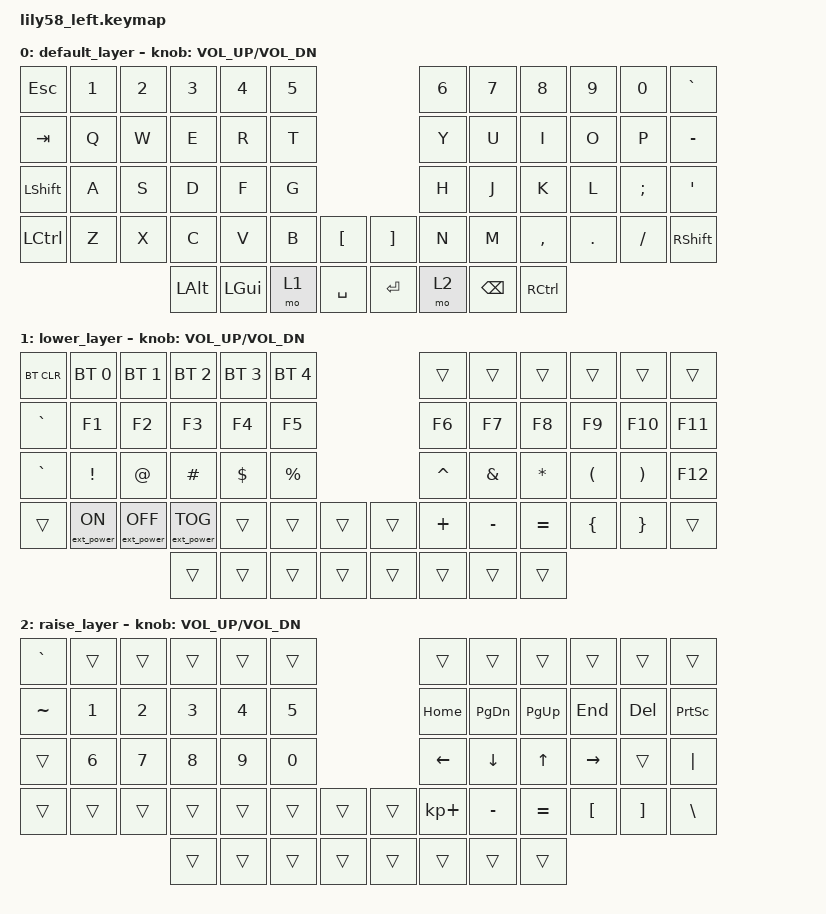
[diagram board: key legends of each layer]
/*
 * Copyright (c) 2020 The ZMK Contributors
 *
 * SPDX-License-Identifier: MIT
 */

#include <behaviors.dtsi>
#include <dt-bindings/zmk/keys.h>
#include <dt-bindings/zmk/bt.h>
#include <dt-bindings/zmk/ext_power.h>


/ {
    kscan0: kscan {
    compatible = "zmk,kscan-gpio-matrix";
    wakeup-source;

    diode-direction = "col2row";
    row-gpios
        = <&pro_micro 5 (GPIO_ACTIVE_HIGH | GPIO_PULL_DOWN)>
        , <&pro_micro 6 (GPIO_ACTIVE_HIGH | GPIO_PULL_DOWN)>
        , <&pro_micro 7 (GPIO_ACTIVE_HIGH | GPIO_PULL_DOWN)>
        , <&pro_micro 4 (GPIO_ACTIVE_HIGH | GPIO_PULL_DOWN)>
        , <&pro_micro 9 (GPIO_ACTIVE_HIGH | GPIO_PULL_DOWN)>
        ;

    };
    
    keymap {
        compatible = "zmk,keymap";

        default_layer {
// ------------------------------------------------------------------------------------------------------------
// |  ESC  |  1  |  2  |  3   |  4   |  5   |                   |  6   |  7    |  8    |  9   |   0   |   `   |
// |  TAB  |  Q  |  W  |  E   |  R   |  T   |                   |  Y   |  U    |  I    |  O   |   P   |   -   |
// | SHIFT |  A  |  S  |  D   |  F   |  G   |                   |  H   |  J    |  K    |  L   |   ;   |   '   |
// | CTRL  |  Z  |  X  |  C   |  V   |  B   |   "["  |  |  "]"  |  N   |  M    |  ,    |  .   |   /   | SHIFT |
//                     | ALT  | GUI  | LOWER|  SPACE |  | ENTER | RAISE| BSPC  | CTRL  |
            bindings = <
&kp ESC   &kp N1 &kp N2 &kp N3   &kp N4   &kp N5                     &kp N6 &kp N7   &kp N8    &kp N9  &kp N0   &kp GRAVE
&kp TAB   &kp Q  &kp W  &kp E    &kp R    &kp T                      &kp Y  &kp U    &kp I     &kp O   &kp P    &kp MINUS
&kp LSHFT &kp A  &kp S  &kp D    &kp F    &kp G                      &kp H  &kp J    &kp K     &kp L   &kp SEMI &kp SQT
&kp LCTRL &kp Z  &kp X  &kp C    &kp V    &kp B  &kp LBKT   &kp RBKT &kp N  &kp M    &kp COMMA &kp DOT &kp FSLH &kp RSHFT
                        &kp LALT &kp LGUI &mo 1  &kp SPACE  &kp RET  &mo 2  &kp BSPC &kp RCTRL
            >;

            sensor-bindings = <&inc_dec_kp C_VOL_UP C_VOL_DN>;
        };

        lower_layer {
// ------------------------------------------------------------------------------------------------------------
// | BTCLR | BT1 | BT2 |  BT3 |  BT4 |  BT5 |                   |      |       |       |      |       |       |
// |   `   |  F1 |  F2 |  F3  |  F4  |  F5  |                   |  F6  |  F7   |  F8   |  F9  |  F10  |  F11  |
// |   `   |  !  |  @  |  #   |  $   |  %   |                   |  ^   |  &    |  *    |  (   |   )   |  F12  |
// |       |     |     |      |      |      |        |  |       |  +   |  -    |  =    |  {   |   }   |       |
//                     |      |      |      |        |  |       |      |       |       |
            bindings = <
&bt BT_CLR &bt BT_SEL 0     &bt BT_SEL 1      &bt BT_SEL 2      &bt BT_SEL 3 &bt BT_SEL 4                 &trans    &trans    &trans    &trans    &trans    &trans
&kp GRAVE  &kp F1           &kp F2            &kp F3            &kp F4       &kp F5                       &kp F6    &kp F7    &kp F8    &kp F9   &kp F10   &kp F11
&kp GRAVE  &kp EXCL         &kp AT            &kp HASH          &kp DOLLAR   &kp PRCNT                    &kp CARET &kp AMPS  &kp ASTRK &kp LPAR  &kp RPAR  &kp F12
&trans     &ext_power EP_ON &ext_power EP_OFF &ext_power EP_TOG &trans       &trans    &trans   &trans    &kp PLUS  &kp MINUS &kp EQUAL &kp LBRC  &kp RBRC  &trans
                                              &trans            &trans       &trans    &trans   &trans    &trans    &trans    &trans
            >;

            sensor-bindings = <&inc_dec_kp C_VOL_UP C_VOL_DN>;
        };

        raise_layer {
// ------------------------------------------------------------------------------------------------------------
// |   `   |     |     |      |      |      |                   |      |       |       |      |       |       |
// |   ~   |  1  |  2  |  3   |  4   |  5   |                   | HOME | PG_DN | PG_UP | END  |  DEL  | PRINT |
// |       |  6  |  7  |  8   |  9   |  0   |                   |  <-  |   v   |   ^   |  ->  |       |  "|"  |
// |       |     |     |      |      |      |        |  |       |  +   |   -   |   =   |  [   |   ]   |   \   |
//                     |      |      |      |        |  |       |      |       |       |
            bindings = <
&kp GRAVE &trans &trans &trans  &trans  &trans                       &trans      &trans    &trans    &trans   &trans    &trans
&kp TILDE &kp N1 &kp N2 &kp N3  &kp N4  &kp N5                       &kp HOME    &kp PG_DN &kp PG_UP &kp END   &kp DEL  &kp PSCRN
&trans    &kp N6 &kp N7 &kp N8  &kp N9  &kp N0                       &kp LEFT    &kp DOWN  &kp UP    &kp RIGHT &trans   &kp PIPE
&trans    &trans &trans &trans  &trans  &trans    &trans   &trans    &kp KP_PLUS &kp MINUS &kp EQUAL &kp LBKT &kp RBKT  &kp BSLH
                        &trans  &trans  &trans    &trans   &trans    &trans      &trans    &trans
            >;

            sensor-bindings = <&inc_dec_kp C_VOL_UP C_VOL_DN>;
        };
    };
};
